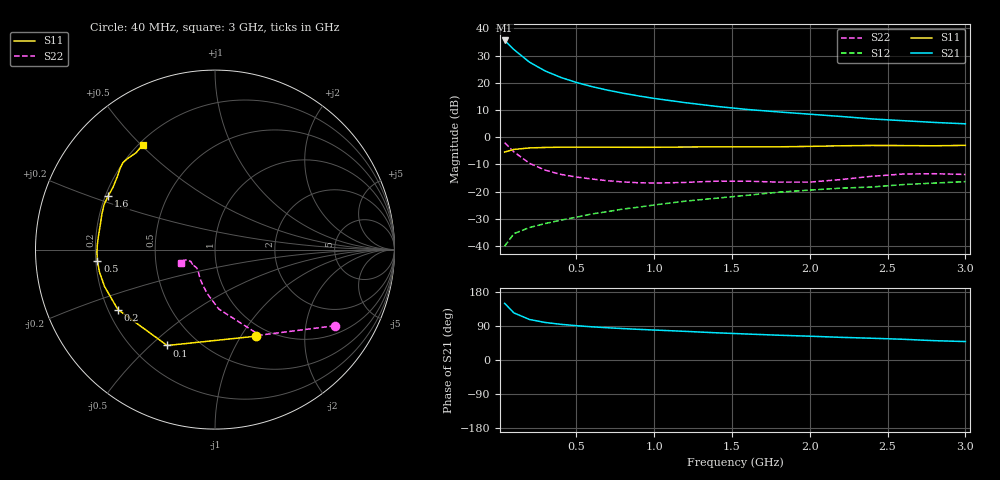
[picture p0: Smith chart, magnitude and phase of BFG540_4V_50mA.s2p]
! Filename:  BFG540X.S2P  Version:  3.0
! Philips part #: BFG540  Date: Feb 1992
! Bias condition: Vce=4V, Ic=50mA
! IN LINE PINNING: same data as with cross emitter pinning.
#  MHz  S  MA  R  50
! Freq  S11  S21  S12  S22  !GUM [dB]
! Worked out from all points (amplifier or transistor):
!   21 points, 40 MHz to 3 GHz, reference 50 ohm
!   highest |S21| = 35.5 dB at 40 MHz (marker M1)
!   |S21| within 3 dB of that: start of sweep to 93.7 MHz
!   unconditionally stable (mu >= 1): 619.6 MHz to end of sweep
!   at 300 MHz: K = 0.74, MSG = 28.0 dB, |S12| = -31.7 dB
!   at 1 GHz: K = 1.14, MAG = 17.3 dB, |S12| = -24.9 dB
!   at 3 GHz: K = 1.14, MAG = 8.3 dB, |S12| = -16.3 dB
!   S11 on the Smith chart (normalised r, x): 40 MHz: 0.86, -1.17; 100 MHz: 0.34, -0.57; 200 MHz: 0.24, -0.27; 500 MHz: 0.21, -0.05; 1.6 GHz: 0.21, +0.23; 3 GHz: 0.22, +0.51
40  0.534 -64.6  59.74 149.6  0.01 65.9  0.792 -32.4
100  0.597 -116.5  40.62 124.2  0.017 50.6  0.538 -62.4
200  0.636 -148.3  23.84 106.9  0.022 47.2  0.332 -86.3
300  0.649 -161.6  16.5 99.1  0.026 49.4  0.249 -100.0
400  0.656 -169.2  12.56 94.2  0.03 53.3  0.208 -109.3
500  0.658 -174.6  10.14 90.6  0.034 56.2  0.186 -115.8
600  0.658 -178.8  8.509 87.6  0.039 59.4  0.171 -120.7
700  0.656 177.6  7.325 85.1  0.043 61.4  0.159 -124.9
800  0.654 174.2  6.434 82.9  0.048 62.9  0.151 -128.7
900  0.653 170.9  5.729 80.9  0.052 64.7  0.146 -132.8
1000  0.654 167.7  5.164 79.1  0.057 65.9  0.144 -136.8
1200  0.661 162.3  4.312 75.6  0.067 67.2  0.148 -142.5
1400  0.667 157.9  3.685 71.8  0.076 67.4  0.156 -144.0
1600  0.666 153.5  3.229 68.5  0.086 68.6  0.156 -144.2
1800  0.666 148.5  2.912 65.4  0.098 68.1  0.15 -146.8
2000  0.679 143.3  2.647 62.8  0.107 68.5  0.15 -153.7
2200  0.696 139.4  2.405 59.8  0.116 68.0  0.167 -160.2
2400  0.706 136.5  2.166 57.4  0.122 68.4  0.192 -161.4
2600  0.703 133.7  2.011 54.7  0.135 67.1  0.211 -158.7
2800  0.696 129.3  1.869 51.0  0.144 64.6  0.214 -156.1
3000  0.709 124.4  1.763 48.7  0.153 64.9  0.207 -158.1
